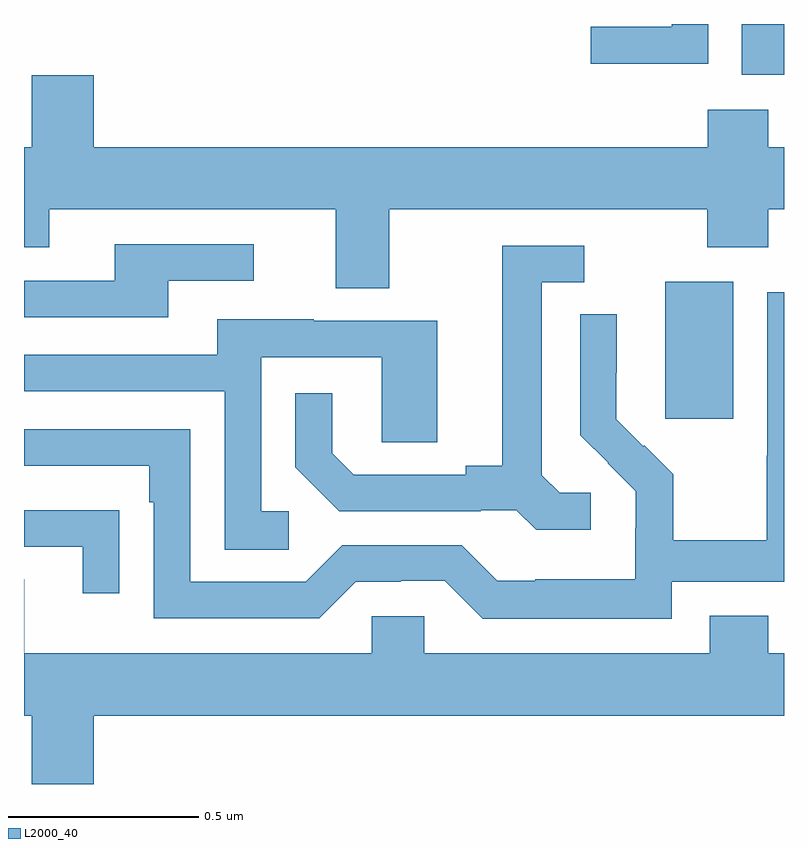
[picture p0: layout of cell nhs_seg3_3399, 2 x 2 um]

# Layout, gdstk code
import gdstk
lib = gdstk.Library(unit=1e-6, precision=1e-09)
def R(c, l, rs):  # rectangles x0, y0, x1, y1
    for r in rs: c.add(gdstk.rectangle(r[:2], r[2:], *l))
def P(c, l, *ps):  # polygons
    for p in ps: c.add(gdstk.Polygon(p, *l))
L2000_40 = (2000, 40)

nhs_seg3_3399 = lib.new_cell('nhs_seg3_3399')
R(nhs_seg3_3399, L2000_40, [(154.688,704.361,154.867,704.722), (154.889,705.266,155,705.4)])
P(nhs_seg3_3399, L2000_40, [(154.8,705.4),(154.704,705.4),(154.704,705.393),(154.491,705.393),(154.491,705.295),(154.8,705.295)],
  [(153.961,704.912),(154.798,704.912),(154.798,704.813),(154.958,704.813),(154.958,704.912),(155,704.912),(155,705.076),(154.959,705.076),(154.959,705.175),(154.799,705.175),(154.799,705.076),(153.184,705.076),(153.184,705.265),(153.02,705.265),(153.02,705.076),(153,705.076),(153,704.813),(153.067,704.813),(153.067,704.912),(153.821,704.912),(153.821,704.704),(153.961,704.704)],
  [(153.379,704.724),(153.604,704.724),(153.604,704.82),(153.239,704.82),(153.239,704.724),(153,704.724),(153,704.628),(153.379,704.628)],
  [(154.492,704.166),(154.41,704.166),(154.363,704.213),(154.363,704.721),(154.474,704.721),(154.474,704.817),(154.259,704.817),(154.259,704.237),(154.163,704.237),(154.163,704.214),(153.868,704.214),(153.811,704.271),(153.811,704.428),(153.714,704.428),(153.714,704.234),(153.83,704.118),(154.202,704.118),(154.202,704.121),(154.296,704.121),(154.348,704.069),(154.492,704.069)],
  [(154.704,703.932),(155,703.932),(155,704.694),(154.956,704.694),(154.956,704.264),(154.954,704.264),(154.954,704.041),(154.709,704.041),(154.709,704.215),(154.632,704.292),(154.629,704.289),(154.559,704.36),(154.559,704.482),(154.56,704.482),(154.56,704.636),(154.464,704.636),(154.464,704.318),(154.537,704.245),(154.536,704.244),(154.61,704.17),(154.61,704.073),(154.608,704.073),(154.608,703.939),(154.345,703.939),(154.345,703.935),(154.245,703.935),(154.152,704.028),(153.837,704.028),(153.741,703.932),(153.438,703.932),(153.438,704.334),(153,704.334),(153,704.238),(153.329,704.238),(153.329,704.141),(153.342,704.141),(153.342,703.836),(153.777,703.836),(153.873,703.932),(153.992,703.932),(153.992,703.935),(154.107,703.935),(154.207,703.835),(154.704,703.835)],
  [(153.697,704.118),(153.624,704.118),(153.624,704.523),(153.942,704.523),(153.942,704.299),(154.087,704.299),(154.087,704.619),(153.763,704.619),(153.763,704.623),(153.509,704.623),(153.509,704.529),(153,704.529),(153,704.433),(153.528,704.433),(153.528,704.017),(153.697,704.017)],
  [(153.251,704.12),(153.149,704.12),(153.149,704.121),(153,704.121),(153,704.025),(153.155,704.025),(153.155,703.902),(153.251,703.902)],
  [(153.184,703.58),(155,703.58),(155,703.744),(154.958,703.744),(154.958,703.843),(154.805,703.843),(154.805,703.744),(154.053,703.744),(154.053,703.842),(153.915,703.842),(153.915,703.744),(153.001,703.744),(153.001,703.939),(153,703.939),(153,703.58),(153.02,703.58),(153.02,703.4),(153.184,703.4)])

lib.write_gds('nhs_seg3_3399.gds')
